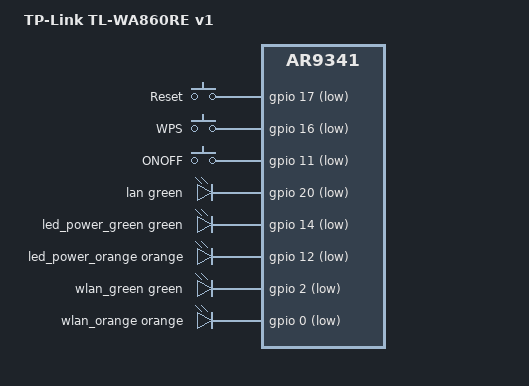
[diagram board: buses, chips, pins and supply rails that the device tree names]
// SPDX-License-Identifier: GPL-2.0-or-later OR MIT

#include <dt-bindings/leds/common.h>

#include "ar9341_tplink_tl-wa.dtsi"

/ {
	model = "TP-Link TL-WA860RE v1";
	compatible = "tplink,tl-wa860re-v1", "qca,ar9341";

	aliases {
		led-boot = &led_power_green;
		led-failsafe = &led_power_orange;
		led-running = &led_power_green;
		led-upgrade = &led_power_orange;
	};

	keys {
		compatible = "gpio-keys";

		reset {
			label = "Reset";
			linux,code = <KEY_RESTART>;
			gpios = <&gpio 17 GPIO_ACTIVE_LOW>;
			debounce-interval = <60>;
		};

		wps {
			label = "WPS";
			linux,code = <KEY_WPS_BUTTON>;
			gpios = <&gpio 16 GPIO_ACTIVE_LOW>;
			debounce-interval = <60>;
		};

		onoff {
			label = "ONOFF";
			linux,code = <BTN_1>;
			gpios = <&gpio 11 GPIO_ACTIVE_LOW>;
			debounce-interval = <60>;
		};
	};

	leds {
		compatible = "gpio-leds";

		lan {
			function = LED_FUNCTION_LAN;
			color = <LED_COLOR_ID_GREEN>;
			gpios = <&gpio 20 GPIO_ACTIVE_LOW>;
		};

		led_power_green: power_green {
			function = LED_FUNCTION_POWER;
			color = <LED_COLOR_ID_GREEN>;
			gpios = <&gpio 14 GPIO_ACTIVE_LOW>;
			default-state = "on";
		};

		led_power_orange: power_orange {
			function = LED_FUNCTION_POWER;
			color = <LED_COLOR_ID_ORANGE>;
			gpios = <&gpio 12 GPIO_ACTIVE_LOW>;
		};

		wlan_green {
			function = LED_FUNCTION_WLAN;
			color = <LED_COLOR_ID_GREEN>;
			gpios = <&gpio 2 GPIO_ACTIVE_LOW>;
			linux,default-trigger = "phy0tpt";
		};

		wlan_orange {
			function = LED_FUNCTION_WLAN;
			color = <LED_COLOR_ID_ORANGE>;
			gpios = <&gpio 0 GPIO_ACTIVE_LOW>;
		};
	};
};
